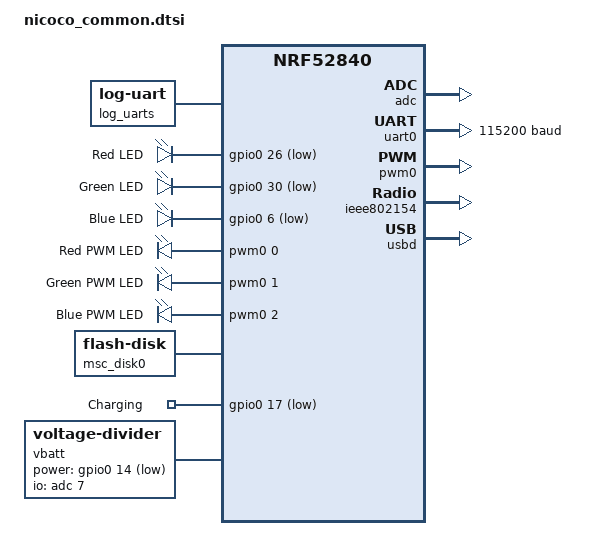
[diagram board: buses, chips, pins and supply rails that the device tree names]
#include <nordic/nrf52840_qiaa.dtsi>
#include "nicoco-pinctrl.dtsi"
#include "seeed_xiao_connector.dtsi"

/ {
	chosen {
		zephyr,console = &usb_cdc_acm_uart;
		zephyr,shell-uart = &uart0;
		zephyr,log-uart = &log_uarts;
		zephyr,uart-mcumgr = &usb_cdc_acm_uart;
		zephyr,bt-mon-uart = &usb_cdc_acm_uart;
		zephyr,bt-c2h-uart = &usb_cdc_acm_uart;
		zephyr,sram = &sram0;
		zephyr,flash = &flash0;
		zephyr,code-partition = &code_partition;
		zephyr,ieee802154 = &ieee802154;
	};

	log_uarts: log_uarts {
		compatible = "zephyr,log-uart";
		uarts = <&uart0>; // Multiple UARTs can be used for LOGS here.
	};

	leds {
		compatible = "gpio-leds";
		led0: led_0 {
			gpios = <&gpio0 26 GPIO_ACTIVE_LOW>;
			label = "Red LED";
		};
		led1: led_1 {
			gpios = <&gpio0 30 GPIO_ACTIVE_LOW>;
			label = "Green LED";
		};
		led2: led_2 {
			gpios = <&gpio0 6 GPIO_ACTIVE_LOW>;
			label = "Blue LED";
		};
	};

	pwmleds {
		compatible = "pwm-leds";
		pwm_led0: pwm_led_0 {
			pwms = <&pwm0 0 PWM_MSEC(20) PWM_POLARITY_INVERTED>;
			label = "Red PWM LED";
		};
		pwm_led1: pwm_led_1 {
            pwms = <&pwm0 1 PWM_MSEC(20) PWM_POLARITY_INVERTED>;
			label = "Green PWM LED";
        };
        pwm_led2: pwm_led_2 {
            pwms = <&pwm0 2 PWM_MSEC(20) PWM_POLARITY_INVERTED>;
			label = "Blue PWM LED";
        };
	};

	msc_disk0 {
		compatible = "zephyr,flash-disk";
		partition = <&data_partition>;
		disk-name = "NAND";
		cache-size = <4096>;
	};

	gpin {
		compatible = "gpio-keys";

		charging: charging {
			gpios = <&gpio0 17 GPIO_ACTIVE_LOW>;
			label = "Charging";
		};
	};

	vbatt {
		compatible = "voltage-divider";
		io-channels = <&adc 7>;
		output-ohms = <510000>;
		full-ohms = <1510000>;
		power-gpios = <&gpio0 14 GPIO_ACTIVE_LOW>;
	};

	/* These aliases are provided for compatibility with samples */
	aliases {
		led0 = &led0;
		led1 = &led1;
		led2 = &led2;
		pwm-led0 = &pwm_led0;
		pwm-led1 = &pwm_led1;
		pwm-led2 = &pwm_led2;
		bootloader-led0 = &led0;
		mcuboot-led0 = &led0;
		watchdog0 = &wdt0;
		charging = &charging;
	};
};

&adc {
	status = "okay";
};

&uicr {
	gpio-as-nreset;
};

&gpiote {
	status = "okay";
};

&gpio0 {
	status = "okay";
};

&gpio1 {
	status = "okay";
};

&uart0 {
	compatible = "nordic,nrf-uarte";
	status = "okay";
	current-speed = <115200>;
	pinctrl-0 = <&uart0_default>;
	pinctrl-1 = <&uart0_sleep>;
	pinctrl-names = "default", "sleep";
};

&pwm0 {
	status = "okay";
	pinctrl-0 = <&pwm0_default>;
	pinctrl-1 = <&pwm0_sleep>;
	pinctrl-names = "default", "sleep";
};

&ieee802154 {
	status = "okay";
};

&flash0 {
	partitions {
		compatible = "fixed-partitions";
		#address-cells = <1>;
		#size-cells = <1>;

		sd_partition: partition@0 {
			label = "softdevice";
			reg = <0x00000000 0x00027000>;
		};

		code_partition: partition@27000 {
			label = "code_partition";
			reg = <0x00027000 0x000c5000>;
		};

		/*
		 * The flash starting at 0x000ec000 and ending at
		 * 0x000f3fff is reserved for use by the application.
		 *
		 * Storage partition will be used by FCB/LittleFS/NVS
		 * if enabled.
		 */
		storage_partition: partition@ec000 {
			label = "storage";
			reg = <0x000ec000 0x00008000>;
		};

		boot_partition: partition@f4000 {
			label = "adafruit_boot";
			reg = <0x000f4000 0x0000c000>;
		};
	};
};

zephyr_udc0: &usbd {
	compatible = "nordic,nrf-usbd";
	status = "okay";

	usb_cdc_acm_uart: cdc-acm-uart {
		compatible = "zephyr,cdc-acm-uart";
	};
};
